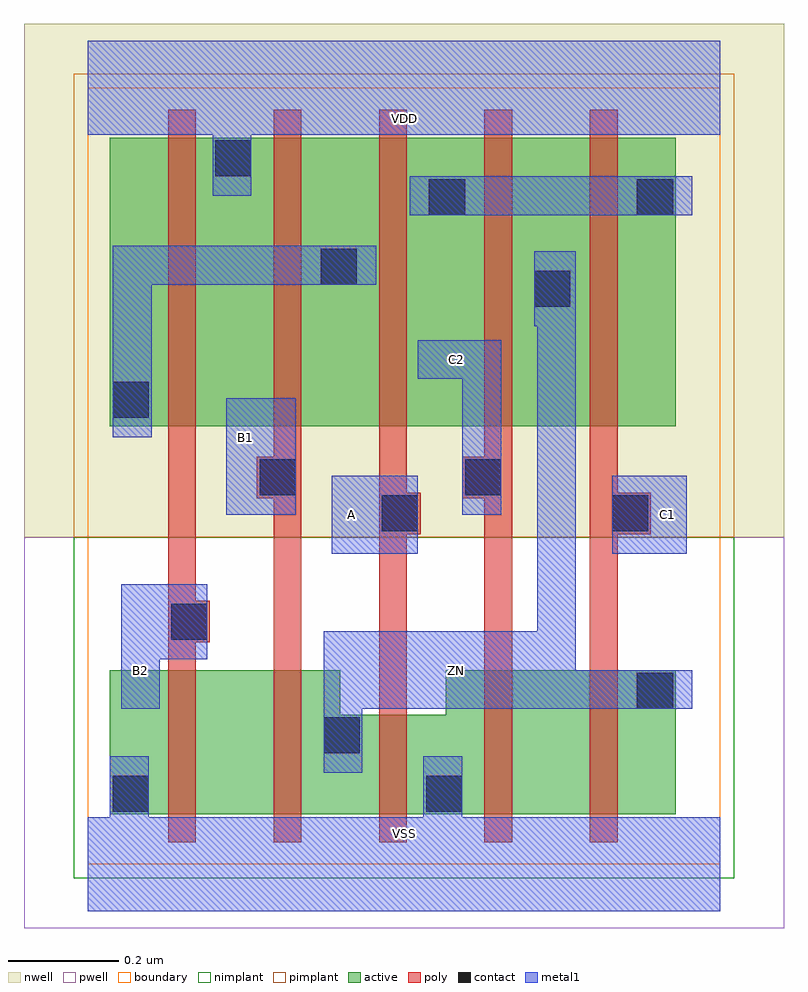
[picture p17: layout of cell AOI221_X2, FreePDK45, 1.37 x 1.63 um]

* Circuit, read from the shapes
.subckt AOI221_X2 A B1 B2 C1 C2 VDD VSS ZN
M1 n1 B2 VSS VSUBS nfet w=0.26u l=0.05u
M2 ZN B1 n1 VSUBS nfet w=0.26u l=0.05u
M3 VSS A ZN VSUBS nfet w=0.18u l=0.05u
M4 n2 C2 VSS VSUBS nfet w=0.26u l=0.05u
M5 ZN C1 n2 VSUBS nfet w=0.26u l=0.05u
M6 VDD B2 n3 n4 pfet w=0.52u l=0.05u
M7 n3 B1 VDD n4 pfet w=0.52u l=0.05u
M8 n5 A n3 n4 pfet w=0.52u l=0.05u
M9 ZN C2 n5 n4 pfet w=0.52u l=0.05u
M10 n5 C1 ZN n4 pfet w=0.52u l=0.05u
.ends

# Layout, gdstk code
import gdstk
lib = gdstk.Library(unit=1e-6, precision=1e-10)
def R(c, l, rs):  # rectangles x0, y0, x1, y1
    for r in rs: c.add(gdstk.rectangle(r[:2], r[2:], *l))
def P(c, l, *ps):  # polygons
    for p in ps: c.add(gdstk.Polygon(p, *l))
active = (1, 0)
pwell = (2, 0)
nwell = (3, 0)
nimplant = (4, 0)
pimplant = (5, 0)
poly = (9, 0)
contact = (10, 0)
metal1 = (11, 0)
boundary = (235, 0)

aoi221_x2 = lib.new_cell('AOI221_X2')
R(aoi221_x2, active, [(0.04,0.79,1.06,1.31)])
P(aoi221_x2, active, [(0.04,0.09),(1.06,0.09),(1.06,0.35),(0.645,0.35),(0.645,0.27),(0.455,0.27),(0.455,0.35),(0.04,0.35)])
R(aoi221_x2, pwell, [(-0.115,-0.115,1.255,0.59)])
R(aoi221_x2, nwell, [(-0.115,0.59,1.255,1.515)])
R(aoi221_x2, nimplant, [(-0.025,-0.025,1.165,0.59)])
R(aoi221_x2, pimplant, [(-0.025,0.59,1.165,1.425)])
P(aoi221_x2, poly, [(0.145,0.04),(0.195,0.04),(0.195,0.4),(0.22,0.4),(0.22,0.475),(0.195,0.475),(0.195,1.36),(0.145,1.36)],
  [(0.305,0.66),(0.335,0.66),(0.335,0.04),(0.385,0.04),(0.385,1.36),(0.335,1.36),(0.335,0.735),(0.305,0.735)],
  [(0.525,0.04),(0.575,0.04),(0.575,0.595),(0.6,0.595),(0.6,0.67),(0.575,0.67),(0.575,1.36),(0.525,1.36)],
  [(0.675,0.66),(0.715,0.66),(0.715,0.04),(0.765,0.04),(0.765,1.36),(0.715,1.36),(0.715,0.735),(0.675,0.735)],
  [(0.905,0.04),(0.955,0.04),(0.955,0.595),(1.015,0.595),(1.015,0.67),(0.955,0.67),(0.955,1.36),(0.905,1.36)])
R(aoi221_x2, contact, [(0.045,0.095,0.11,0.16), (0.61,0.095,0.675,0.16), (0.425,0.2,0.49,0.265), (0.99,0.28,1.055,0.345), (0.15,0.405,0.215,0.47), (0.53,0.6,0.595,0.665), (0.945,0.6,1.01,0.665), (0.31,0.665,0.375,0.73), (0.68,0.665,0.745,0.73), (0.045,0.805,0.11,0.87), (0.805,1.005,0.87,1.07), (0.42,1.045,0.485,1.11), (0.615,1.17,0.68,1.235), (0.99,1.17,1.055,1.235), (0.23,1.24,0.295,1.305)])
R(aoi221_x2, metal1, [(0.44,0.56,0.595,0.7), (0.945,0.56,1.08,0.7), (0.25,0.63,0.375,0.84), (0.58,1.17,1.09,1.24)])
P(aoi221_x2, metal1, [(0.06,0.28),(0.13,0.28),(0.13,0.37),(0.215,0.37),(0.215,0.505),(0.06,0.505)],
  [(0.045,0.77),(0.115,0.77),(0.115,1.045),(0.52,1.045),(0.52,1.115),(0.045,1.115)],
  [(0.595,0.875),(0.675,0.875),(0.675,0.63),(0.745,0.63),(0.745,0.945),(0.595,0.945)],
  [(0.805,0.97),(0.81,0.97),(0.81,0.42),(0.425,0.42),(0.425,0.165),(0.495,0.165),(0.495,0.28),(1.09,0.28),(1.09,0.35),(0.88,0.35),(0.88,1.105),(0.805,1.105)],
  [(0,-0.085),(1.14,-0.085),(1.14,0.085),(0.675,0.085),(0.675,0.195),(0.605,0.195),(0.605,0.085),(0.11,0.085),(0.11,0.195),(0.04,0.195),(0.04,0.085),(0,0.085)],
  [(0,1.315),(0.225,1.315),(0.225,1.205),(0.295,1.205),(0.295,1.315),(1.14,1.315),(1.14,1.485),(0,1.485)])
R(aoi221_x2, boundary, [(0,0,1.14,1.4)])
aoi221_x2.add(gdstk.Label('A', (0.475,0.63), layer=11, texttype=0))
aoi221_x2.add(gdstk.Label('B1', (0.285,0.77), layer=11, texttype=0))
aoi221_x2.add(gdstk.Label('B2', (0.095,0.35), layer=11, texttype=0))
aoi221_x2.add(gdstk.Label('C1', (1.045,0.63), layer=11, texttype=0))
aoi221_x2.add(gdstk.Label('C2', (0.665,0.91), layer=11, texttype=0))
aoi221_x2.add(gdstk.Label('VDD', (0.57,1.345), layer=11, texttype=0))
aoi221_x2.add(gdstk.Label('VSS', (0.57,0.055), layer=11, texttype=0))
aoi221_x2.add(gdstk.Label('ZN', (0.665,0.35), layer=11, texttype=0))

lib.write_gds('AOI221_X2.gds')
